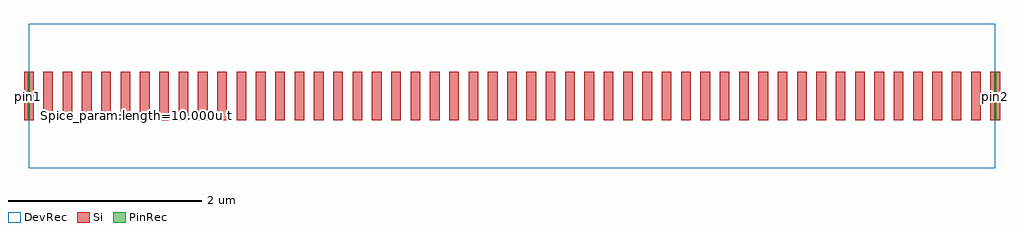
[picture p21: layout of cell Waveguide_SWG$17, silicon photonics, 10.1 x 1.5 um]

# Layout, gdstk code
import gdstk
lib = gdstk.Library(unit=1e-6, precision=1e-09)
def R(c, l, rs):  # rectangles x0, y0, x1, y1
    for r in rs: c.add(gdstk.rectangle(r[:2], r[2:], *l))
def A(c, l, x, y, w, h, nx, ny, dx, dy):  # array of equal rectangles
    R(c, l, [(x+i*dx, y+j*dy, x+i*dx+w, y+j*dy+h) for i in range(nx) for j in range(ny)])
Si = (1, 0)
PinRec = (1, 10)
DevRec = (68, 0)

waveguide_swg_17 = lib.new_cell('Waveguide_SWG$17')
A(waveguide_swg_17, Si, -0.05, -0.25, 0.1, 0.5, 51, 1, 0.2, 0)
R(waveguide_swg_17, DevRec, [(0,-0.75,10,0.75)])
waveguide_swg_17.add(gdstk.FlexPath([(0.01,0),(-0.01,0)], 0.5, ends="flush", simple_path=True, layer=1, datatype=10))  # PinRec
waveguide_swg_17.add(gdstk.FlexPath([(9.99,0),(10.01,0)], 0.5, ends="flush", simple_path=True, layer=1, datatype=10))  # PinRec
waveguide_swg_17.add(gdstk.Label('pin1', (0,0), layer=1, texttype=10))
waveguide_swg_17.add(gdstk.Label('pin2', (10,0), layer=1, texttype=10))
waveguide_swg_17.add(gdstk.Label('Lumerical_INTERCONNECT_library=Design kits/ebeam_v1.2', (0,0), layer=68, texttype=0))
waveguide_swg_17.add(gdstk.Label('Component=NO_MODEL_AVAILABLE', (1,0), layer=68, texttype=0))
waveguide_swg_17.add(gdstk.Label('Spice_param:length=10.000u target_period=0.200u grating_period=0.200u wg_width=0.500u duty=0.500 ', (1.111,-0.2), layer=68, texttype=0))

lib.write_gds('Waveguide_SWG_17.gds')
